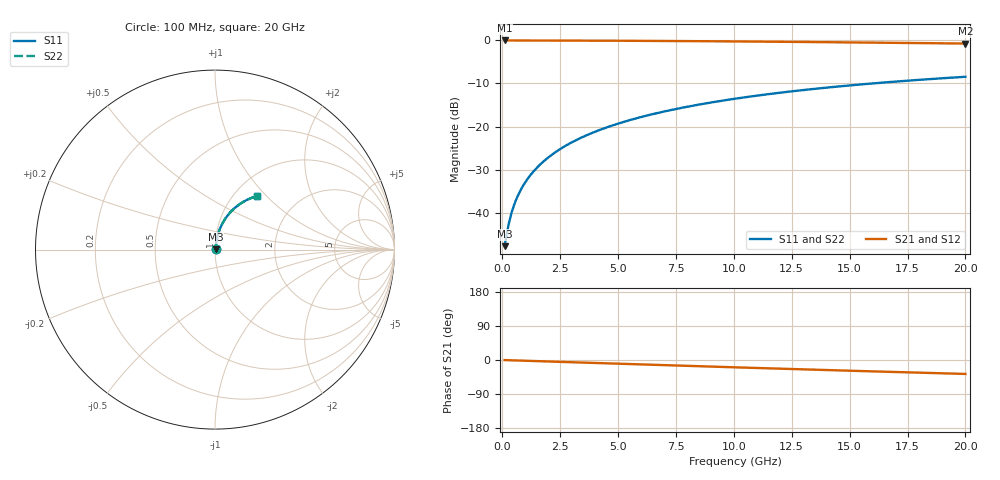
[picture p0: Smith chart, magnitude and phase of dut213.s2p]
! Touchstone file exported from HFSS 2026.1.0
!  File:  C:/ffzhzh/LocalFiles/Ansys_Project_Files/temp_train_TMRDL_213_1782984186_41620.aedt
!  Generated:  05:24:22 PM Jul  2, 2026
!  Design:  TMRDL
!  Project:  temp_train_TMRDL_213_1782984186_41620
! Variables:
!  h_bsmrdl = 2um
!  h_ox = 20um
!  h_rdl = 5um
!  h_sub = 80um
!  h_tmrdl = 2.23um
!  h_tsv = 80um
!  h_via = 3um
!  l_bsmrdl = 300um
!  l_sub = 880.4um
!  l_tmrdl = 480.4um
!  m_sub = 200um
!  pitch = 59.88um
!  r_tsv = 6um
!  s_tmrdl = 10um
!  w_bsmrdl = 18um
!  w_sub = 500um
!  w_tmrdl = 25.58um
!  x_tsv_center1 = 493.19um
!  x_tsv_center2 = 811.19um
!  x_tsv_center3 = 1317.17um
!  x_tsv_center4 = 1635.17um
!  x_tsv_center5 = 2141.15um
!  x_tsv_center6 = 2459.15um
# GHz S MA R 50.000000
! Terminal data exported
! Port[1] = TM_RDL1_1_T1
! Port[2] = TM_RDL1_1_T2
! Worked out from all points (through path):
!   200 points, 100 MHz to 20 GHz, reference 50 ohm
!   highest |S21| = -0.03 dB at 100 MHz (marker M1); lowest = -0.7 dB at 20 GHz (marker M2)
!   group delay of S21, straight-line fit = 5.12 ps
!   lowest |S11| = -47.8 dB at 100 MHz (marker M3), VSWR 1.01, Z = 50.3 + j0.239 ohm
!   |S11| at or under -10 dB: start of sweep to 15.99 GHz
!   |S22| runs from -47.8 to -8.5 dB; largest |S21 - S12| = 2.6e-15
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0.1  0.004091 35.4  0.9967 -0.2  0.9967 -0.2  0.004091 35.4
! Gamma 0 0 0 0
! Port Impedance 50 0 50 0
0.2  0.005838 53.7  0.9966 -0.4  0.9966 -0.4  0.005838 53.7
0.3  0.007875 62.6  0.9964 -0.6  0.9964 -0.6  0.007875 62.6
0.4  0.009987 67.6  0.9963 -0.8  0.9963 -0.8  0.009987 67.6
0.5  0.01211 70.7  0.9961 -1.0  0.9961 -1.0  0.01211 70.7
0.6  0.01423 72.8  0.996 -1.2  0.996 -1.2  0.01423 72.8
0.8  0.01847 75.6  0.9958 -1.6  0.9958 -1.6  0.01847 75.6
1.1  0.02483 77.9  0.9955 -2.2  0.9955 -2.2  0.02483 77.9
1.3  0.02909 78.9  0.9953 -2.6  0.9953 -2.6  0.02909 78.9
1.6  0.0355 79.7  0.995 -3.2  0.995 -3.2  0.0355 79.7
2.1  0.04621 80.3  0.9944 -4.1  0.9944 -4.1  0.04621 80.3
2.7  0.05908 80.2  0.9937 -5.3  0.9937 -5.3  0.05908 80.2
3.5  0.0762 79.6  0.9924 -6.9  0.9924 -6.9  0.0762 79.6
4.2  0.09111 78.7  0.991 -8.2  0.991 -8.2  0.09111 78.7
5  0.108 77.6  0.9892 -9.8  0.9892 -9.8  0.108 77.6
5.9  0.1269 76.2  0.9867 -11.5  0.9867 -11.5  0.1269 76.1
6.8  0.1455 74.7  0.984 -13.2  0.984 -13.2  0.1455 74.6
8.3  0.1759 72.1  0.9787 -16.1  0.9787 -16.1  0.1759 72.0
10.1  0.2112 68.9  0.9713 -19.4  0.9713 -19.4  0.2112 68.9
13.4  0.2721 63.1  0.9552 -25.5  0.9552 -25.5  0.2721 63.1
16.7  0.3277 57.4  0.937 -31.2  0.937 -31.2  0.3277 57.4
20  0.3776 52.0  0.9176 -36.8  0.9176 -36.8  0.3776 51.9
